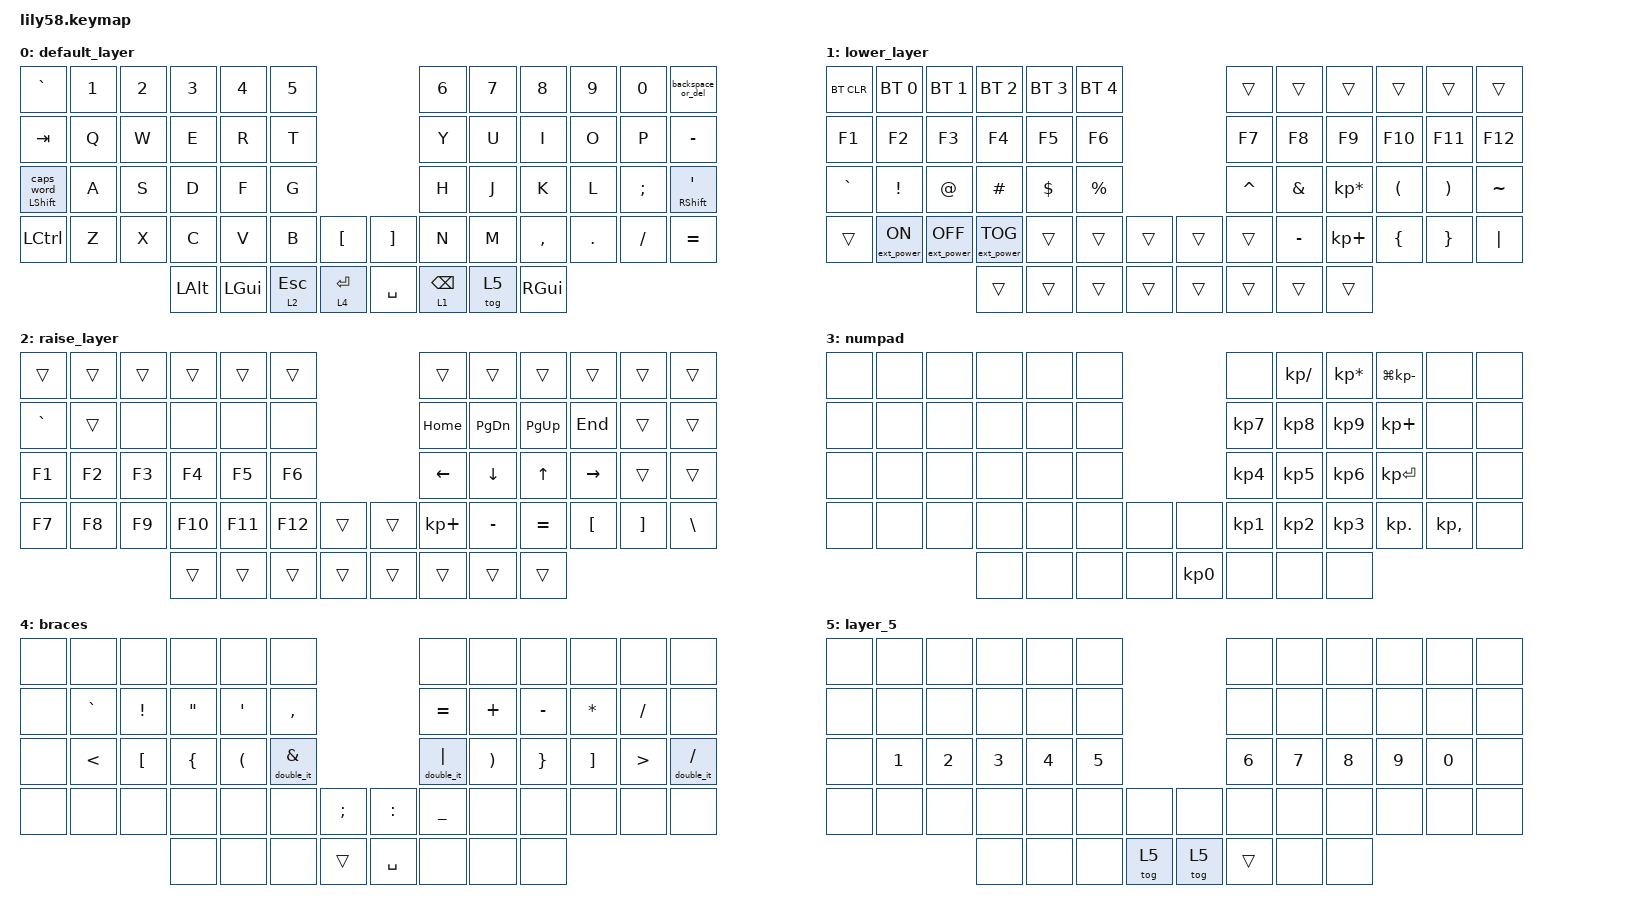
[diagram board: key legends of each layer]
/*
 * Copyright (c) 2020 The ZMK Contributors
 *
 * SPDX-License-Identifier: MIT
 */

#include <behaviors.dtsi>
#include <dt-bindings/zmk/bt.h>
#include <dt-bindings/zmk/ext_power.h>
#include <dt-bindings/zmk/keys.h>

#define ZMK_MOUSE_DEFAULT_MOVE_VAL 1500  // 600
#define ZMK_MOUSE_DEFAULT_SCRL_VAL 20    // 10

#include <dt-bindings/zmk/mouse.h>
#include <behaviors/mouse_keys.dtsi>
#include <behaviors/mouse_move.dtsi>

&mmv {
    acceleration-exponent = <1>;      // 1
    time-to-max-speed-ms = <500>;     // 300
    delay-ms = <0>;                   // 0
};

&msc {
    acceleration-exponent = <1>;      // 0
    time-to-max-speed-ms = <40>;      // 300
    delay-ms = <0>;                   // 0
};


&caps_word { continue-list = <UNDERSCORE BACKSPACE DELETE MINUS>; };

/ {
    behaviors {
        hold_word_caps: hold_word_caps {
            compatible = "zmk,behavior-hold-tap";
            label = "HOLD_WORD_CAPS";
            bindings = <&sk>, <&caps_word>;

            #binding-cells = <2>;
            tapping-term-ms = <150>;
        };

        key_or_layer: key_or_layer {
            compatible = "zmk,behavior-hold-tap";
            label = "KEY_OR_LAYER";
            bindings = <&mo>, <&kp>;

            #binding-cells = <2>;
            tapping-term-ms = <100>;
        };

        tapdancelayer: tapdancelayer {
            compatible = "zmk,behavior-tap-dance";
            label = "TAPDANCELAYER";
            #binding-cells = <0>;
            bindings = <&mo 5>, <&mo 0>, <&mo 5>;
        };

        long_or_short: long_or_short {
            compatible = "zmk,behavior-hold-tap";
            label = "LONG_OR_SHORT";
            bindings = <&kp>, <&kp>;

            #binding-cells = <2>;
            tapping-term-ms = <400>;
            flavor = "tap-preferred";
            quick-tap-ms = <0>;
            require-prior-idle-ms = <150>;
        };

        umlaut_behaviour_a: umlaut_behaviour_a {
            compatible = "zmk,behavior-mod-morph";
            label = "UMLAUT_BEHAVIOUR_A";
            bindings = <&umlaut_a>, <&umlaut_capital_a>;

            #binding-cells = <0>;
            mods = <(MOD_LSFT|MOD_RSFT)>;
        };

        umlaut_behaviour_u: umlaut_behaviour_u {
            compatible = "zmk,behavior-mod-morph";
            label = "UMLAUT_BEHAVIOUR_U";
            bindings = <&umlaut_u>, <&umlaut_capital_u>;

            #binding-cells = <0>;
            mods = <(MOD_LSFT|MOD_RSFT)>;
        };

        umlaut_behavior_o: umlaut_behavior_o {
            compatible = "zmk,behavior-mod-morph";
            label = "UMLAUT_BEHAVIOR_O";
            bindings = <&umlaut_o>, <&umlaut_capital_o>;

            #binding-cells = <0>;
            mods = <(MOD_LSFT|MOD_RSFT)>;
        };

        backspace_or_del: backspace_or_del {
            compatible = "zmk,behavior-mod-morph";
            label = "BACKSPACE_OR_DEL";
            bindings = <&kp BACKSPACE>, <&kp DELETE>;

            #binding-cells = <0>;
            mods = <(MOD_LCTL|MOD_LSFT)>;
        };
    };

    macros {
        double_it: double_it {
            compatible = "zmk,behavior-macro-one-param";
            #binding-cells = <1>;
            bindings = <&macro_param_1to1 &kp MACRO_PLACEHOLDER &macro_param_1to1 &kp MACRO_PLACEHOLDER>;
            label = "DOUBLE_IT";
        };

        umlaut_capital_a: umlaut_capital_a {
            compatible = "zmk,behavior-macro";
            #binding-cells = <0>;
            bindings =
                <&macro_press>,
                <&kp LEFT_ALT>,
                <&macro_tap>,
                <&kp KP_N0 &kp KP_N1 &kp KP_N9 &kp KP_N6>,
                <&macro_release>,
                <&kp LEFT_ALT>;

            label = "UMLAUT_CAPITAL_A";
        };

        umlaut_a: umlaut_a {
            compatible = "zmk,behavior-macro";
            #binding-cells = <0>;
            bindings =
                <&macro_press>,
                <&kp LEFT_ALT>,
                <&macro_tap>,
                <&kp KP_N0 &kp KP_N2 &kp KP_N2 &kp KP_N8>,
                <&macro_release>,
                <&kp LEFT_ALT>;

            label = "UMLAUT_A";
        };

        umlaut_capital_o: umlaut_capital_o {
            compatible = "zmk,behavior-macro";
            #binding-cells = <0>;
            bindings =
                <&macro_press>,
                <&kp LEFT_ALT>,
                <&macro_tap>,
                <&kp KP_N0 &kp KP_N2 &kp KP_N1 &kp KP_N4>,
                <&macro_release>,
                <&kp LEFT_ALT>;

            label = "UMLAUT_CAPITAL_O";
        };

        umlaut_o: umlaut_o {
            compatible = "zmk,behavior-macro";
            #binding-cells = <0>;
            bindings =
                <&macro_press>,
                <&kp LEFT_ALT>,
                <&macro_tap>,
                <&kp KP_N0 &kp KP_N2 &kp KP_N4 &kp KP_N6>,
                <&macro_release>,
                <&kp LEFT_ALT>;

            label = "UMLAUT_O";
        };

        umlaut_capital_u: umlaut_capital_u {
            compatible = "zmk,behavior-macro";
            #binding-cells = <0>;
            bindings =
                <&macro_press>,
                <&kp LEFT_ALT>,
                <&macro_tap>,
                <&kp KP_N0 &kp KP_N2 &kp KP_N2 &kp KP_N0>,
                <&macro_release>,
                <&kp LEFT_ALT>;

            label = "UMLAUT_CAPITAL_U";
        };

        umlaut_u: umlaut_u {
            compatible = "zmk,behavior-macro";
            #binding-cells = <0>;
            bindings =
                <&macro_press>,
                <&kp LEFT_ALT>,
                <&macro_tap>,
                <&kp KP_N0 &kp KP_N2 &kp KP_N5 &kp KP_N2>,
                <&macro_release>,
                <&kp LEFT_ALT>;

            label = "UMLAUT_U";
        };

        esszet: esszet {
            compatible = "zmk,behavior-macro";
            #binding-cells = <0>;
            bindings =
                <&macro_press>,
                <&kp LEFT_ALT>,
                <&macro_tap>,
                <&kp KP_N0 &kp KP_N2 &kp KP_N2 &kp KP_N3>,
                <&macro_release>,
                <&kp LEFT_ALT>;

            label = "ESSZET";
        };
    };

    combos {
        compatible = "zmk,combos";

        layer1_thumbds {
            bindings = <&mo 1>;
            key-positions = <54 53>;
        };

        combo_umlaut_a {
            bindings = <&umlaut_behaviour_a>;
            key-positions = <25 54>;
        };

        combo_umlaut_u {
            bindings = <&umlaut_behaviour_u>;
            key-positions = <19 53>;
        };

        combo_umlaut_o {
            bindings = <&umlaut_behavior_o>;
            key-positions = <53 21>;
        };

        combo_umlaut_s {
            bindings = <&esszet>;
            key-positions = <26 54>;
        };
    };

    keymap {
        compatible = "zmk,keymap";

        default_layer {
            // ------------------------------------------------------------------------------------------------------------
            // |  ESC  |  1  |  2  |  3   |  4   |  5   |                   |  6   |  7    |  8    |  9   |   0   |   `   |
            // |  TAB  |  Q  |  W  |  E   |  R   |  T   |                   |  Y   |  U    |  I    |  O   |   P   |   -   |
            // |  CTRL |  A  |  S  |  D   |  F   |  G   |                   |  H   |  J    |  K    |  L   |   ;   |   '   |
            // | SHIFT |  Z  |  X  |  C   |  V   |  B   |   "["  |  |  "]"  |  N   |  M    |  ,    |  .   |   /   | SHIFT |
            //                     | ALT  | GUI  | LOWER|  SPACE |  | ENTER | RAISE| BSPC  | GUI   |

            bindings = <
&kp GRAVE                     &kp N1  &kp N2  &kp N3    &kp N4    &kp N5                                  &kp N6           &kp N7  &kp N8     &kp N9   &kp N0    &backspace_or_del
&kp TAB                       &kp Q   &kp W   &kp E     &kp R     &kp T                                   &kp Y            &kp U   &kp I      &kp O    &kp P     &kp MINUS
&hold_word_caps LEFT_SHIFT 0  &kp A   &kp S   &kp D     &kp F     &kp G                                   &kp H            &kp J   &kp K      &kp L    &kp SEMI  &mt RSHIFT SQT
&kp LCTRL                     &kp Z   &kp X   &kp C     &kp V     &kp B         &kp LBKT       &kp RBKT   &kp N            &kp M   &kp COMMA  &kp DOT  &kp FSLH  &kp EQUAL
                                              &kp LALT  &kp LGUI  &lt 2 ESCAPE  &lt 4 ENTER    &kp SPACE  &lt 1 BACKSPACE  &tog 5  &kp RGUI
            >;
        };

        lower_layer {
            // ------------------------------------------------------------------------------------------------------------
            // | BTCLR | BT1 | BT2 |  BT3 |  BT4 |  BT5 |                   |      |       |       |      |       |       |
            // |  F1   |  F2 |  F3 |  F4  |  F5  |  F6  |                   |  F7  |  F8   |  F9   |  F10 |  F11  |  F12  |
            // |   `   |  !  |  @  |  #   |  $   |  %   |                   |  ^   |  &    |  *    |  (   |   )   |   ~   |
            // |       |     |     |      |      |      |        |  |       |      |  _    |  +    |  {   |   }   |  "|"  |
            //                     |      |      |      |        |  |       |      |       |       |

            bindings = <
&bt BT_CLR  &bt BT_SEL 0      &bt BT_SEL 1       &bt BT_SEL 2       &bt BT_SEL 3  &bt BT_SEL 4                    &trans     &trans     &trans           &trans    &trans    &trans
&kp F1      &kp F2            &kp F3             &kp F4             &kp F5        &kp F6                          &kp F7     &kp F8     &kp F9           &kp F10   &kp F11   &kp F12
&kp GRAVE   &kp EXCL          &kp AT             &kp HASH           &kp DOLLAR    &kp PRCNT                       &kp CARET  &kp AMPS   &kp KP_MULTIPLY  &kp LPAR  &kp RPAR  &kp TILDE
&trans      &ext_power EP_ON  &ext_power EP_OFF  &ext_power EP_TOG  &trans        &trans        &trans    &trans  &trans     &kp MINUS  &kp KP_PLUS      &kp LBRC  &kp RBRC  &kp PIPE
                                                 &trans             &trans        &trans        &trans    &trans  &trans     &trans     &trans
            >;
        };

        raise_layer {
            // ------------------------------------------------------------------------------------------------------------
            // |       |     |     |      |      |      |                   |      |       |       |      |       |       |
            // |   `   |  1  |  2  |  3   |  4   |  5   |                   |  6   |   7   |   8   |  9   |   0   |       |
            // |   F1  |  F2 |  F3 |  F4  |  F5  |  F6  |                   |      |   <-  |   v   |  ^   |  ->   |       |
            // |   F7  |  F8 |  F9 |  F10 |  F11 |  F12 |        |  |       |  +   |   -   |   =   |  [   |   ]   |   \   |
            //                     |      |      |      |        |  |       |      |       |       |

            bindings = <
&trans     &trans  &trans  &trans   &trans   &trans                     &trans       &trans          &trans        &trans     &trans    &trans
&kp GRAVE  &trans  &none   &none    &none    &none                      &kp HOME     &kp PAGE_DOWN   &kp PAGE_UP   &kp END    &trans    &trans
&kp F1     &kp F2  &kp F3  &kp F4   &kp F5   &kp F6                     &kp LEFT     &kp DOWN_ARROW  &kp UP_ARROW  &kp RIGHT  &trans    &trans
&kp F7     &kp F8  &kp F9  &kp F10  &kp F11  &kp F12  &trans    &trans  &kp KP_PLUS  &kp MINUS       &kp EQUAL     &kp LBKT   &kp RBKT  &kp BSLH
                           &trans   &trans   &trans   &trans    &trans  &trans       &trans          &trans
            >;
        };

        numpad {
            bindings = <
&none  &none  &none  &none  &none  &none                            &none            &kp KP_DIVIDE    &kp KP_ASTERISK  &kp LG(KP_SUBTRACT)  &none         &none
&none  &none  &none  &none  &none  &none                            &kp KP_NUMBER_7  &kp KP_NUMBER_8  &kp KP_NUMBER_9  &kp KP_PLUS          &none         &none
&none  &none  &none  &none  &none  &none                            &kp KP_NUMBER_4  &kp KP_NUMBER_5  &kp KP_NUMBER_6  &kp KP_ENTER         &none         &none
&none  &none  &none  &none  &none  &none  &none    &none            &kp KP_NUMBER_1  &kp KP_NUMBER_2  &kp KP_NUMBER_3  &kp KP_DOT           &kp KP_COMMA  &none
                     &none  &none  &none  &none    &kp KP_NUMBER_0  &none            &none            &none
            >;
        };

        braces {
            bindings = <
&none  &none          &none             &none           &none                 &none                                             &none            &none                  &none            &none              &none             &none
&none  &kp GRAVE      &kp EXCLAMATION   &kp DQT         &kp SINGLE_QUOTE      &kp COMMA                                         &kp EQUAL        &kp PLUS               &kp MINUS        &kp STAR           &kp SLASH         &none
&none  &kp LESS_THAN  &kp LEFT_BRACKET  &kp LEFT_BRACE  &kp LEFT_PARENTHESIS  &double_it AMPERSAND                              &double_it PIPE  &kp RIGHT_PARENTHESIS  &kp RIGHT_BRACE  &kp RIGHT_BRACKET  &kp GREATER_THAN  &double_it SLASH
&none  &none          &none             &none           &none                 &none                 &kp SEMICOLON    &kp COLON  &kp UNDERSCORE   &none                  &none            &none              &none             &none
                                        &none           &none                 &none                 &trans           &kp SPACE  &none            &none                  &none
            >;
        };

        layer_5 {
            bindings = <
&none  &none   &none   &none   &none   &none                     &none   &none   &none   &none   &none   &none
&none  &none   &none   &none   &none   &none                     &none   &none   &none   &none   &none   &none
&none  &kp N1  &kp N2  &kp N3  &kp N4  &kp N5                    &kp N6  &kp N7  &kp N8  &kp N9  &kp N0  &none
&none  &none   &none   &none   &none   &none   &none     &none   &none   &none   &none   &none   &none   &none
                       &none   &none   &none   &tog 5    &tog 5  &trans  &none   &none
            >;
        };
    };
};
